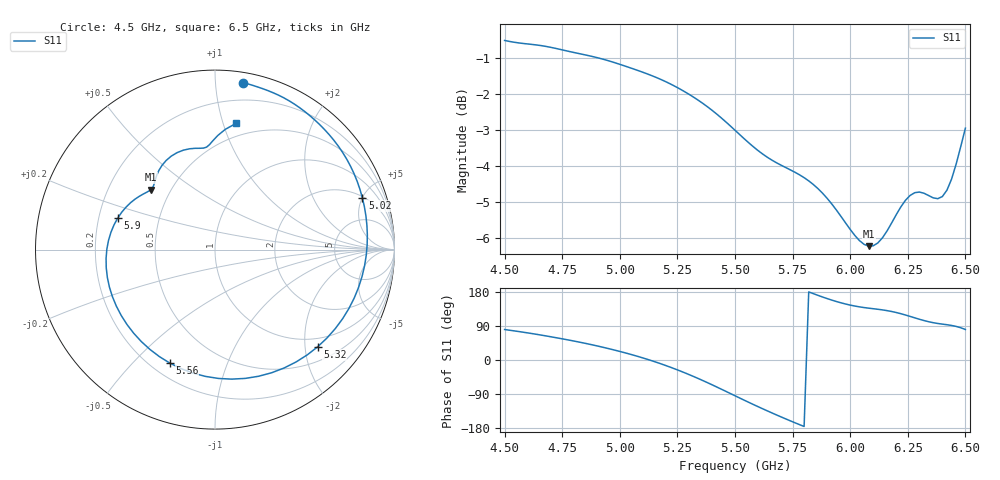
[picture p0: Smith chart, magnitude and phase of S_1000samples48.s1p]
! TOUCHSTONE file generated by CST MICROWAVE STUDIO
! Date and time: Wed Oct 26 19:49:09 2022
! Project name: L.cst
! Parameters = {Di=1.27; Epsilon_r=1.56; InnerDiameter=1.27; Length=2; Lf=10; Lg=60; OuterConductorThickness=0.2921; OuterDiameter=3.6; Wf=3; Wp=41.2; de=1.5; df=6.8; g=0.8; gx=4.61308; gy=1.04438; h=2.34; hf=1.524; px=11.033; py=11.6604; w=9.7; wx=6.41989; wy=10.616}
! Header version: 2018
! Port assignment regex: !\s*Touchstone port\s*([0-9]+)\s*=\s*(CST MWS port|CST DS port)\s*([0-9]+|Zmin|Zmax)\s*\(\"(.*)\"\)(\s*mode\s*([0-9]+))?.*
! Touchstone port assignment:
! Touchstone port 1 = CST MWS port 1 ("")
# GHz S DB R 50
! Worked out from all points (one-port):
!   101 points, 4.5 GHz to 6.5 GHz, reference 50 ohm
!   lowest |S11| = -6.2 dB at 6.08 GHz (marker M1), VSWR 2.91, Z = 19.5 + j17.2 ohm
!   |S11| at or under -10 dB: nowhere
!   S11 on the Smith chart (normalised r, x): 4.5 GHz: 0.07, +1.18; 5.02 GHz: 2.10, +5.00; 5.32 GHz: 0.80, -2.27; 5.56 GHz: 0.27, -0.64; 5.9 GHz: 0.28, +0.15; 6.5 GHz: 0.39, +1.11
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4.5  -0.50 80.5
4.64  -0.63 67.6
4.76  -0.78 54.8
4.88  -0.94 40.1
5  -1.16 22.6
5.02  -1.21 19.4
5.14  -1.48 -2.2
5.2  -1.65 -14.7
5.26  -1.85 -28.5
5.32  -2.07 -43.5
5.38  -2.34 -59.7
5.42  -2.54 -71.0
5.5  -2.99 -94.4
5.56  -3.35 -111.8
5.66  -3.82 -139.6
5.72  -4.03 -155.4
5.76  -4.16 -165.6
5.82  -4.40 179.7
5.9  -4.89 162.1
6  -5.75 144.9
6.08  -6.21 136.8
6.14  -5.98 132.2
6.2  -5.34 125.3
6.26  -4.81 115.0
6.34  -4.81 101.1
6.42  -4.66 93.1
6.46  -3.93 88.6
6.5  -2.94 80.5
